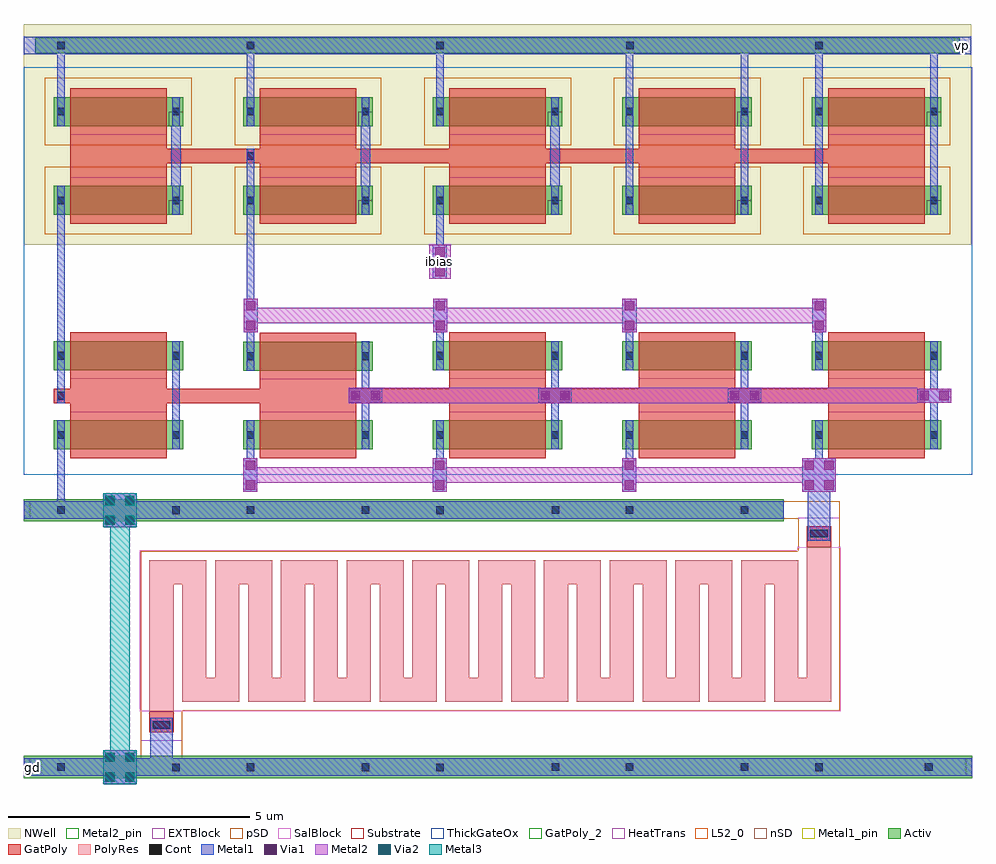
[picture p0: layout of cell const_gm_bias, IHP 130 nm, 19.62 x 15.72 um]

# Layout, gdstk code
import gdstk
lib = gdstk.Library(unit=1e-6, precision=1e-09)
def R(c, l, rs):  # rectangles x0, y0, x1, y1
    for r in rs: c.add(gdstk.rectangle(r[:2], r[2:], *l))
def A(c, l, x, y, w, h, nx, ny, dx, dy):  # array of equal rectangles
    R(c, l, [(x+i*dx, y+j*dy, x+i*dx+w, y+j*dy+h) for i in range(nx) for j in range(ny)])
Activ = (1, 0)
GatPoly = (5, 0)
GatPoly_2 = (5, 2)
Cont = (6, 0)
nSD = (7, 0)
Metal1 = (8, 0)
Metal1_pin = (8, 2)
Metal2 = (10, 0)
Metal2_pin = (10, 2)
pSD = (14, 0)
Via1 = (19, 0)
SalBlock = (28, 0)
Via2 = (29, 0)
Metal3 = (30, 0)
NWell = (31, 0)
Substrate = (40, 0)
ThickGateOx = (44, 0)
HeatTrans = (51, 0)
L52_0 = (52, 0)
EXTBlock = (111, 0)
PolyRes = (128, 0)

nmoshv = lib.new_cell('nmosHV')
R(nmoshv, Activ, [(0,0,0.3,0.3), (0,0,2.68,0.6), (2.38,0,2.68,0.3)])
R(nmoshv, GatPoly, [(0.34,-0.18,2.34,0.78)])
R(nmoshv, GatPoly_2, [(0.34,-0.18,2.34,0.78)])
R(nmoshv, Cont, [(0.07,0.22,0.23,0.38), (2.45,0.22,2.61,0.38)])
R(nmoshv, Metal1, [(0.07,0,0.23,0.6), (2.45,0,2.61,0.6)])
R(nmoshv, Metal1_pin, [(0.07,0,0.23,0.6), (2.45,0,2.61,0.6)])
R(nmoshv, ThickGateOx, [(-0.27,-0.52,2.95,1.12)])
R(nmoshv, HeatTrans, [(0.34,-0.18,2.34,0.78)])
nmoshv.add(gdstk.Label('nmosHV', (1.34,0.3), layer=63, texttype=0))
nmoshv.add(gdstk.Label('nmosHV', (1.34,0.3), layer=51, texttype=0))

via_stack = lib.new_cell('via_stack')
R(via_stack, Metal1, [(-0.145,-0.35,0.145,0.35)])
R(via_stack, Metal2, [(-0.145,-0.35,0.145,0.35)])
R(via_stack, Via1, [(-0.095,-0.3,0.095,-0.11), (-0.095,0.11,0.095,0.3)])

via_stack_1 = lib.new_cell('via_stack$1')
R(via_stack_1, Metal1, [(-0.35,-0.35,0.35,0.35)])
R(via_stack_1, Metal2, [(-0.35,-0.35,0.35,0.35)])
R(via_stack_1, Via1, [(-0.3,-0.3,-0.11,-0.11), (0.11,-0.3,0.3,-0.11), (-0.3,0.11,-0.11,0.3), (0.11,0.11,0.3,0.3)])

pmoshv = lib.new_cell('pmosHV')
R(pmoshv, Activ, [(0,0,0.3,0.3), (0,0,2.68,0.6), (2.38,0,2.68,0.3)])
R(pmoshv, GatPoly, [(0.34,-0.18,2.34,0.78)])
R(pmoshv, GatPoly_2, [(0.34,-0.18,2.34,0.78)])
R(pmoshv, Cont, [(0.07,0.22,0.23,0.38), (2.45,0.22,2.61,0.38)])
R(pmoshv, Metal1, [(0.07,0,0.23,0.6), (2.45,0,2.61,0.6)])
R(pmoshv, Metal1_pin, [(0.07,0,0.23,0.6), (2.45,0,2.61,0.6)])
R(pmoshv, pSD, [(-0.18,-0.4,2.86,1)])
R(pmoshv, NWell, [(-0.62,-0.62,3.3,1.22)])
R(pmoshv, Substrate, [(2.38,0,2.68,0.3)])
R(pmoshv, ThickGateOx, [(-0.62,-0.62,3.3,1.22)])
R(pmoshv, HeatTrans, [(0.34,-0.18,2.34,0.78)])
pmoshv.add(gdstk.Label('pmosHV', (1.34,0.3), layer=63, texttype=0))
pmoshv.add(gdstk.Label('pmos', (1.34,0.3), layer=51, texttype=0))

rppd = lib.new_cell('rppd')
R(rppd, GatPoly, [(0,-0.43,0.5,-0.2), (0,-0.2,0.5,0), (13.6,3.4,14.1,3.6), (13.6,3.6,14.1,3.83)])
R(rppd, Cont, [(0.07,-0.36,0.43,-0.2), (13.67,3.6,14.03,3.76)])
R(rppd, Metal1, [(0.02,-0.43,0.48,-0.13), (13.62,3.53,14.08,3.83)])
R(rppd, Metal1_pin, [(0.02,-0.43,0.48,-0.13), (13.62,3.53,14.08,3.83)])
R(rppd, pSD, [(-0.18,-0.61,0.68,0.02), (-0.18,0.02,14.28,3.31), (13.42,3.31,14.28,3.4), (13.42,3.4,14.28,4.01)])
R(rppd, SalBlock, [(-0.2,0,14.3,3.33), (13.4,3.33,14.3,3.4)])
A(rppd, L52_0, 0.68, 0.2, 1.18, 0.5, 10, 1, 1.36, 0)
A(rppd, L52_0, 0.68, 0.7, 0.5, 1.93, 19, 1, 0.68, 0)
A(rppd, L52_0, 0, 2.63, 1.18, 0.5, 10, 1, 1.36, 0)
R(rppd, L52_0, [(0,0,0.5,2.63), (13.6,0.7,14.1,3.4)])
R(rppd, EXTBlock, [(-0.18,-0.61,0.68,0), (-0.2,0,14.3,3.33), (13.4,3.33,14.3,3.4), (13.42,3.4,14.28,4.01)])
A(rppd, PolyRes, 0.68, 0.2, 1.18, 0.5, 10, 1, 1.36, 0)
A(rppd, PolyRes, 0.68, 0.7, 0.5, 1.93, 19, 1, 0.68, 0)
A(rppd, PolyRes, 0, 2.63, 1.18, 0.5, 10, 1, 1.36, 0)
R(rppd, PolyRes, [(0,0,0.5,2.63), (13.6,0.7,14.1,3.4)])
rppd.add(gdstk.Label('rppd r=29192.452', (0.25,0.965), layer=63, texttype=0))
rppd.add(gdstk.Label('rppd', (0.25,1.315), layer=52, texttype=0))
rppd.add(gdstk.Label('rppd', (0.59,2.88), layer=52, texttype=0))
rppd.add(gdstk.Label('rppd', (0.93,1.665), layer=52, texttype=0))
rppd.add(gdstk.Label('rppd', (1.27,0.45), layer=52, texttype=0))
rppd.add(gdstk.Label('rppd', (1.61,1.665), layer=52, texttype=0))
rppd.add(gdstk.Label('rppd', (1.95,2.88), layer=52, texttype=0))
rppd.add(gdstk.Label('rppd', (2.29,1.665), layer=52, texttype=0))
rppd.add(gdstk.Label('rppd', (2.63,0.45), layer=52, texttype=0))
rppd.add(gdstk.Label('rppd', (2.97,1.665), layer=52, texttype=0))
rppd.add(gdstk.Label('rppd', (3.31,2.88), layer=52, texttype=0))
rppd.add(gdstk.Label('rppd', (3.65,1.665), layer=52, texttype=0))
rppd.add(gdstk.Label('rppd', (3.99,0.45), layer=52, texttype=0))
rppd.add(gdstk.Label('rppd', (4.33,1.665), layer=52, texttype=0))
rppd.add(gdstk.Label('rppd', (4.67,2.88), layer=52, texttype=0))
rppd.add(gdstk.Label('rppd', (5.01,1.665), layer=52, texttype=0))
rppd.add(gdstk.Label('rppd', (5.35,0.45), layer=52, texttype=0))
rppd.add(gdstk.Label('rppd', (5.69,1.665), layer=52, texttype=0))
rppd.add(gdstk.Label('rppd', (6.03,2.88), layer=52, texttype=0))
rppd.add(gdstk.Label('rppd', (6.37,1.665), layer=52, texttype=0))
rppd.add(gdstk.Label('rppd', (6.71,0.45), layer=52, texttype=0))
rppd.add(gdstk.Label('rppd', (7.05,1.665), layer=52, texttype=0))
rppd.add(gdstk.Label('rppd', (7.39,2.88), layer=52, texttype=0))
rppd.add(gdstk.Label('rppd', (7.73,1.665), layer=52, texttype=0))
rppd.add(gdstk.Label('rppd', (8.07,0.45), layer=52, texttype=0))
rppd.add(gdstk.Label('rppd', (8.41,1.665), layer=52, texttype=0))
rppd.add(gdstk.Label('rppd', (8.75,2.88), layer=52, texttype=0))
rppd.add(gdstk.Label('rppd', (9.09,1.665), layer=52, texttype=0))
rppd.add(gdstk.Label('rppd', (9.43,0.45), layer=52, texttype=0))
rppd.add(gdstk.Label('rppd', (9.77,1.665), layer=52, texttype=0))
rppd.add(gdstk.Label('rppd', (10.11,2.88), layer=52, texttype=0))
rppd.add(gdstk.Label('rppd', (10.45,1.665), layer=52, texttype=0))
rppd.add(gdstk.Label('rppd', (10.79,0.45), layer=52, texttype=0))
rppd.add(gdstk.Label('rppd', (11.13,1.665), layer=52, texttype=0))
rppd.add(gdstk.Label('rppd', (11.47,2.88), layer=52, texttype=0))
rppd.add(gdstk.Label('rppd', (11.81,1.665), layer=52, texttype=0))
rppd.add(gdstk.Label('rppd', (12.15,0.45), layer=52, texttype=0))
rppd.add(gdstk.Label('rppd', (12.49,1.665), layer=52, texttype=0))
rppd.add(gdstk.Label('rppd', (12.83,2.88), layer=52, texttype=0))
rppd.add(gdstk.Label('rppd', (13.17,1.665), layer=52, texttype=0))
rppd.add(gdstk.Label('rppd', (13.51,0.45), layer=52, texttype=0))
rppd.add(gdstk.Label('rppd', (13.85,2.05), layer=52, texttype=0))

via_stack_2 = lib.new_cell('via_stack$2')
R(via_stack_2, Metal1, [(-0.35,-0.35,0.35,0.35)])
R(via_stack_2, Metal2, [(-0.35,-0.35,0.35,0.35)])
R(via_stack_2, Via1, [(-0.3,-0.3,-0.11,-0.11), (0.11,-0.3,0.3,-0.11), (-0.3,0.11,-0.11,0.3), (0.11,0.11,0.3,0.3)])
R(via_stack_2, Via2, [(-0.3,-0.3,-0.11,-0.11), (0.11,-0.3,0.3,-0.11), (-0.3,0.11,-0.11,0.3), (0.11,0.11,0.3,0.3)])
R(via_stack_2, Metal3, [(-0.35,-0.35,0.35,0.35)])

via_stack_4 = lib.new_cell('via_stack$4')
R(via_stack_4, Metal1, [(-0.35,-0.145,0.35,0.145)])
R(via_stack_4, Metal2, [(-0.35,-0.145,0.35,0.145)])
R(via_stack_4, Via1, [(-0.3,-0.095,-0.11,0.095), (0.11,-0.095,0.3,0.095)])

const_gm_bias = lib.new_cell('const_gm_bias')
A(const_gm_bias, Cont, 0.69, 15.115, 0.16, 0.16, 3, 1, 3.92, 0)
R(const_gm_bias, Cont, [(3.07,0.18,3.23,0.34), (8.53,0.18,8.69,0.34), (4.61,0.185,4.77,0.345), (6.99,0.185,7.15,0.345), (16.37,0.185,16.53,0.345), (0.69,0.19,0.85,0.35), (10.92,0.19,11.08,0.35), (12.45,0.19,12.61,0.35), (14.83,0.19,14.99,0.35), (18.64,0.19,18.8,0.35), (3.07,5.5,3.23,5.66), (8.53,5.5,8.69,5.66), (4.61,5.505,4.77,5.665), (6.99,5.505,7.15,5.665), (0.69,5.51,0.85,5.67), (10.92,5.51,11.08,5.67), (12.45,5.51,12.61,5.67), (14.83,5.51,14.99,5.67), (0.69,7.87,0.85,8.03), (4.61,12.83,4.77,12.99), (12.46,15.115,12.62,15.275), (16.37,15.115,16.53,15.275)])
R(const_gm_bias, Metal1_pin, [(0,0.09,0.36,0.45), (19.245,15.025,19.595,15.375)])
R(const_gm_bias, Metal2, [(8.39,10.37,8.83,11.07)])
R(const_gm_bias, Metal2_pin, [(8.39,10.37,8.83,11.07)])
R(const_gm_bias, pSD, [(2.42,0.45,3.28,0.81), (15.6,5.405,16.88,5.765)])
R(const_gm_bias, NWell, [(0,11.07,19.6,15.64)])
R(const_gm_bias, ThickGateOx, [(0,6.32,19.62,14.75)])
const_gm_bias.add(gdstk.FlexPath([(7.07,6.84),(7.07,9.08)], 0.16, ends="flush", simple_path=True, layer=8, datatype=0))  # Metal1
const_gm_bias.add(gdstk.FlexPath([(10.99,6.84),(10.99,9.08)], 0.16, ends="flush", simple_path=True, layer=8, datatype=0))  # Metal1
const_gm_bias.add(gdstk.FlexPath([(4.69,6.84),(4.69,6.31)], 0.16, ends="flush", simple_path=True, layer=8, datatype=0))  # Metal1
const_gm_bias.add(gdstk.FlexPath([(8.61,6.84),(8.61,6.31)], 0.16, ends="flush", simple_path=True, layer=8, datatype=0))  # Metal1
const_gm_bias.add(gdstk.FlexPath([(12.53,6.84),(12.53,6.31)], 0.16, ends="flush", simple_path=True, layer=8, datatype=0))  # Metal1
const_gm_bias.add(gdstk.FlexPath([(14.91,6.84),(14.91,9.08)], 0.16, ends="flush", simple_path=True, layer=8, datatype=0))  # Metal1
const_gm_bias.add(gdstk.FlexPath([(16.45,6.84),(16.45,6.31)], 0.16, ends="flush", simple_path=True, layer=8, datatype=0))  # Metal1
const_gm_bias.add(gdstk.FlexPath([(18.83,6.84),(18.83,9.08)], 0.16, ends="flush", simple_path=True, layer=8, datatype=0))  # Metal1
const_gm_bias.add(gdstk.FlexPath([(0,5.585),(15.72,5.585)], 0.36, ends="flush", simple_path=True, layer=8, datatype=0))  # Metal1
const_gm_bias.add(gdstk.FlexPath([(16.45,5.25),(16.45,6.31)], 0.46, ends="flush", simple_path=True, layer=8, datatype=0))  # Metal1
const_gm_bias.add(gdstk.FlexPath([(2.85,1.14),(2.85,0.27)], 0.46, ends="flush", simple_path=True, layer=8, datatype=0))  # Metal1
const_gm_bias.add(gdstk.FlexPath([(0,0.27),(19.62,0.27)], 0.36, ends="flush", simple_path=True, layer=8, datatype=0))  # Metal1
const_gm_bias.add(gdstk.FlexPath([(4.69,12.29),(4.69,13.06)], 0.16, ends="flush", simple_path=True, layer=8, datatype=0))  # Metal1
const_gm_bias.add(gdstk.FlexPath([(4.69,8.48),(4.69,12.29)], 0.16, ends="flush", simple_path=True, layer=8, datatype=0))  # Metal1
const_gm_bias.add(gdstk.FlexPath([(8.61,9.08),(8.61,9.96)], 0.16, ends="flush", simple_path=True, layer=8, datatype=0))  # Metal1
const_gm_bias.add(gdstk.FlexPath([(12.53,9.08),(12.53,9.96)], 0.16, ends="flush", simple_path=True, layer=8, datatype=0))  # Metal1
const_gm_bias.add(gdstk.FlexPath([(16.45,9.08),(16.45,9.96)], 0.16, ends="flush", simple_path=True, layer=8, datatype=0))  # Metal1
const_gm_bias.add(gdstk.FlexPath([(3.15,7.44),(3.15,8.48)], 0.16, ends="flush", simple_path=True, layer=8, datatype=0))  # Metal1
const_gm_bias.add(gdstk.FlexPath([(18.83,15.195),(18.83,12.29)], 0.16, ends="flush", simple_path=True, layer=8, datatype=0))  # Metal1
const_gm_bias.add(gdstk.FlexPath([(14.91,15.375),(14.91,12.29)], 0.16, ends="flush", simple_path=True, layer=8, datatype=0))  # Metal1
const_gm_bias.add(gdstk.FlexPath([(10.99,13.53),(10.99,12.29)], 0.2, ends="flush", simple_path=True, layer=8, datatype=0))  # Metal1
const_gm_bias.add(gdstk.FlexPath([(3.15,13.53),(3.15,12.29)], 0.2, ends="flush", simple_path=True, layer=8, datatype=0))  # Metal1
const_gm_bias.add(gdstk.FlexPath([(7.07,13.53),(7.07,12.29)], 0.2, ends="flush", simple_path=True, layer=8, datatype=0))  # Metal1
const_gm_bias.add(gdstk.FlexPath([(0.77,13.53),(0.77,15.13)], 0.16, ends="flush", simple_path=True, layer=8, datatype=0))  # Metal1
const_gm_bias.add(gdstk.FlexPath([(0,15.195),(19.6,15.195)], 0.36, ends="flush", simple_path=True, layer=8, datatype=0))  # Metal1
const_gm_bias.add(gdstk.FlexPath([(16.45,11.69),(16.45,15.13)], 0.16, ends="flush", simple_path=True, layer=8, datatype=0))  # Metal1
const_gm_bias.add(gdstk.FlexPath([(8.61,13.53),(8.61,15.13)], 0.16, ends="flush", simple_path=True, layer=8, datatype=0))  # Metal1
const_gm_bias.add(gdstk.FlexPath([(4.69,13.53),(4.69,15.13)], 0.16, ends="flush", simple_path=True, layer=8, datatype=0))  # Metal1
const_gm_bias.add(gdstk.FlexPath([(0.77,7.14),(0.77,5.585)], 0.16, ends="flush", simple_path=True, layer=8, datatype=0))  # Metal1
const_gm_bias.add(gdstk.FlexPath([(0.77,7.8),(0.77,12.29)], 0.16, ends="flush", simple_path=True, layer=8, datatype=0))  # Metal1
const_gm_bias.add(gdstk.FlexPath([(8.61,11.69),(8.61,10.5)], 0.16, ends="flush", simple_path=True, layer=8, datatype=0))  # Metal1
const_gm_bias.add(gdstk.FlexPath([(12.53,11.69),(12.53,15.13)], 0.16, ends="flush", simple_path=True, layer=8, datatype=0))  # Metal1
const_gm_bias.add(gdstk.FlexPath([(16.8,6.31),(4.545,6.31)], 0.32, ends="flush", simple_path=True, layer=10, datatype=0))  # Metal2
const_gm_bias.add(gdstk.FlexPath([(18.48,7.955),(6.72,7.955)], 0.32, ends="flush", simple_path=True, layer=10, datatype=0))  # Metal2
const_gm_bias.add(gdstk.FlexPath([(4.55,9.61),(16.6,9.61)], 0.32, ends="flush", simple_path=True, layer=10, datatype=0))  # Metal2
const_gm_bias.add(gdstk.FlexPath([(1.99,0.27),(1.99,5.585)], 0.4, ends="flush", simple_path=True, layer=30, datatype=0))  # Metal3
const_gm_bias.add(gdstk.FlexPath([(15.6,5.585),(0.12,5.585)], 0.36, ends="flush", simple_path=True, layer=14, datatype=0))  # pSD
const_gm_bias.add(gdstk.FlexPath([(19.5,0.27),(0.12,0.27)], 0.36, ends="flush", simple_path=True, layer=14, datatype=0))  # pSD
const_gm_bias.add(gdstk.FlexPath([(1.96,8.78),(1.96,7.14)], 2, ends="flush", simple_path=True, layer=5, datatype=0))  # GatPoly
const_gm_bias.add(gdstk.FlexPath([(5.88,8.78),(5.88,7.14)], 2, ends="flush", simple_path=True, layer=5, datatype=0))  # GatPoly
const_gm_bias.add(gdstk.FlexPath([(9.8,8.78),(9.8,7.14)], 2, ends="flush", simple_path=True, layer=5, datatype=0))  # GatPoly
const_gm_bias.add(gdstk.FlexPath([(13.72,8.78),(13.72,7.14)], 2, ends="flush", simple_path=True, layer=5, datatype=0))  # GatPoly
const_gm_bias.add(gdstk.FlexPath([(17.64,8.78),(17.64,7.14)], 2, ends="flush", simple_path=True, layer=5, datatype=0))  # GatPoly
const_gm_bias.add(gdstk.FlexPath([(0.62,7.95),(16.64,7.95)], 0.3, ends="flush", simple_path=True, layer=5, datatype=0))  # GatPoly
const_gm_bias.add(gdstk.FlexPath([(17.64,13.35),(17.64,12.47)], 2, ends="flush", simple_path=True, layer=5, datatype=0))  # GatPoly
const_gm_bias.add(gdstk.FlexPath([(13.72,13.35),(13.72,12.47)], 2, ends="flush", simple_path=True, layer=5, datatype=0))  # GatPoly
const_gm_bias.add(gdstk.FlexPath([(9.8,13.35),(9.8,12.47)], 2, ends="flush", simple_path=True, layer=5, datatype=0))  # GatPoly
const_gm_bias.add(gdstk.FlexPath([(5.88,13.35),(5.88,12.47)], 2, ends="flush", simple_path=True, layer=5, datatype=0))  # GatPoly
const_gm_bias.add(gdstk.FlexPath([(1.96,13.35),(1.96,12.47)], 2, ends="flush", simple_path=True, layer=5, datatype=0))  # GatPoly
const_gm_bias.add(gdstk.FlexPath([(17.64,12.91),(1.96,12.91)], 0.3, ends="flush", simple_path=True, layer=5, datatype=0))  # GatPoly
const_gm_bias.add(gdstk.FlexPath([(0,5.585),(15.72,5.585)], 0.46, ends="flush", simple_path=True, layer=1, datatype=0))  # Activ
const_gm_bias.add(gdstk.FlexPath([(0,0.27),(19.62,0.27)], 0.46, ends="flush", simple_path=True, layer=1, datatype=0))  # Activ
const_gm_bias.add(gdstk.FlexPath([(19.36,15.195),(0.24,15.195)], 0.33, ends="flush", simple_path=True, layer=1, datatype=0))  # Activ
const_gm_bias.add(gdstk.FlexPath([(0.24,15.195),(19.36,15.195)], 0.33, ends="flush", simple_path=True, layer=7, datatype=0))  # nSD
const_gm_bias.add(gdstk.Reference(nmoshv, (16.3,8.48)))
const_gm_bias.add(gdstk.Reference(nmoshv, (0.62,8.48)))
const_gm_bias.add(gdstk.Reference(nmoshv, (8.46,8.48)))
const_gm_bias.add(gdstk.Reference(nmoshv, (4.54,8.47)))
const_gm_bias.add(gdstk.Reference(nmoshv, (16.3,6.84)))
const_gm_bias.add(gdstk.Reference(nmoshv, (12.38,6.84)))
const_gm_bias.add(gdstk.Reference(nmoshv, (4.54,6.84)))
const_gm_bias.add(gdstk.Reference(via_stack, (4.69,6.31)))
const_gm_bias.add(gdstk.Reference(nmoshv, (8.46,6.84)))
const_gm_bias.add(gdstk.Reference(via_stack, (12.525,6.31)))
const_gm_bias.add(gdstk.Reference(via_stack, (12.53,9.61)))
const_gm_bias.add(gdstk.Reference(via_stack, (16.455,9.61)))
const_gm_bias.add(gdstk.Reference(via_stack, (8.615,9.61)))
const_gm_bias.add(gdstk.Reference(via_stack_1, (16.45,6.31)))
const_gm_bias.add(gdstk.Reference(via_stack, (4.695,9.61)))
const_gm_bias.add(gdstk.Reference(nmoshv, (0.62,6.84)))
const_gm_bias.add(gdstk.Reference(pmoshv, (16.3,11.69)))
const_gm_bias.add(gdstk.Reference(pmoshv, (0.62,13.53)))
const_gm_bias.add(gdstk.Reference(pmoshv, (16.3,13.53)))
const_gm_bias.add(gdstk.Reference(pmoshv, (12.38,11.69)))
const_gm_bias.add(gdstk.Reference(pmoshv, (12.38,13.53)))
const_gm_bias.add(gdstk.Reference(pmoshv, (8.46,11.69)))
const_gm_bias.add(gdstk.Reference(pmoshv, (4.54,13.53)))
const_gm_bias.add(gdstk.Reference(pmoshv, (8.46,13.53)))
const_gm_bias.add(gdstk.Reference(pmoshv, (4.54,11.69)))
const_gm_bias.add(gdstk.Reference(pmoshv, (0.62,11.69)))
const_gm_bias.add(gdstk.Reference(rppd, (2.6,1.42)))
const_gm_bias.add(gdstk.Reference(nmoshv, (12.38,8.48)))
const_gm_bias.add(gdstk.Reference(via_stack_2, (1.99,5.58)))
const_gm_bias.add(gdstk.Reference(via_stack_2, (1.99,0.27)))
const_gm_bias.add(gdstk.Reference(via_stack, (8.61,10.72)))
const_gm_bias.add(gdstk.Reference(via_stack, (8.605,6.31)))
const_gm_bias.add(gdstk.Reference(via_stack_4, (7.07,7.955)))
const_gm_bias.add(gdstk.Reference(via_stack_4, (10.99,7.955)))
const_gm_bias.add(gdstk.Reference(via_stack_4, (14.91,7.955)))
const_gm_bias.add(gdstk.Reference(via_stack_4, (18.83,7.955)))
const_gm_bias.add(gdstk.Label('vp', (19.42,15.2), layer=8, texttype=25))
const_gm_bias.add(gdstk.Label('gd', (0.18,0.27), layer=8, texttype=25))
const_gm_bias.add(gdstk.Label('ibias', (8.61,10.72), layer=10, texttype=25))

lib.write_gds('const_gm_bias.gds')
